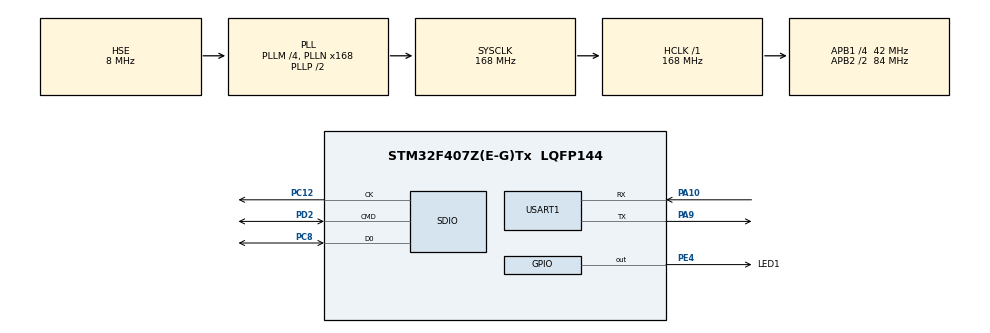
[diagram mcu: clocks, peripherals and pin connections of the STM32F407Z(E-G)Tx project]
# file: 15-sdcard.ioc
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Dma.Request0=SDIO_RX
Dma.Request1=SDIO_TX
Dma.SDIO_RX.0.Direction=DMA_PERIPH_TO_MEMORY
Dma.SDIO_RX.0.FIFOMode=DMA_FIFOMODE_ENABLE
Dma.SDIO_RX.0.FIFOThreshold=DMA_FIFO_THRESHOLD_FULL
Dma.SDIO_RX.0.Instance=DMA2_Stream3
Dma.SDIO_RX.0.MemBurst=DMA_MBURST_INC4
Dma.SDIO_RX.0.MemDataAlignment=DMA_MDATAALIGN_WORD
Dma.SDIO_RX.0.MemInc=DMA_MINC_ENABLE
Dma.SDIO_RX.0.Mode=DMA_PFCTRL
Dma.SDIO_RX.0.PeriphBurst=DMA_PBURST_INC4
Dma.SDIO_RX.0.PeriphDataAlignment=DMA_PDATAALIGN_WORD
Dma.SDIO_RX.0.PeriphInc=DMA_PINC_DISABLE
Dma.SDIO_RX.0.Priority=DMA_PRIORITY_LOW
Dma.SDIO_TX.1.Direction=DMA_MEMORY_TO_PERIPH
Dma.SDIO_TX.1.FIFOMode=DMA_FIFOMODE_ENABLE
Dma.SDIO_TX.1.FIFOThreshold=DMA_FIFO_THRESHOLD_FULL
Dma.SDIO_TX.1.Instance=DMA2_Stream6
Dma.SDIO_TX.1.MemBurst=DMA_MBURST_INC4
Dma.SDIO_TX.1.MemDataAlignment=DMA_MDATAALIGN_WORD
Dma.SDIO_TX.1.MemInc=DMA_MINC_ENABLE
Dma.SDIO_TX.1.Mode=DMA_PFCTRL
Dma.SDIO_TX.1.PeriphBurst=DMA_PBURST_INC4
Dma.SDIO_TX.1.PeriphDataAlignment=DMA_PDATAALIGN_WORD
Dma.SDIO_TX.1.PeriphInc=DMA_PINC_DISABLE
Dma.SDIO_TX.1.Priority=DMA_PRIORITY_LOW
FATFS.USE_DMA_CODE_SD=1
FATFS._FS_NORTC=0
FATFS._USE_LFN=1
Mcu.Family=STM32F4
Mcu.Name=STM32F407Z(E-G)Tx
Mcu.Package=LQFP144
NVIC.DMA2_Stream3_IRQn=true\:0\:0\:false\:false\:true\:false\:true\:true
NVIC.DMA2_Stream6_IRQn=true\:0\:0\:false\:false\:true\:false\:true\:true
NVIC.PriorityGroup=NVIC_PRIORITYGROUP_4
NVIC.SDIO_IRQn=true\:0\:0\:false\:false\:true\:true\:true\:true
NVIC.TIM6_DAC_IRQn=true\:15\:0\:false\:false\:true\:false\:true\:true
NVIC.TimeBase=TIM6_DAC_IRQn
NVIC.TimeBaseIP=TIM6
PA10.Mode=Asynchronous
PA10.Signal=USART1_RX
PA13.Mode=Serial_Wire
PA13.Signal=SYS_JTMS-SWDIO
PA14.Mode=Serial_Wire
PA14.Signal=SYS_JTCK-SWCLK
PA9.Mode=Asynchronous
PA9.Signal=USART1_TX
PC12.Mode=SD_1_bit
PC12.Signal=SDIO_CK
PC14-OSC32_IN.Mode=LSE-External-Oscillator
PC14-OSC32_IN.Signal=RCC_OSC32_IN
PC15-OSC32_OUT.Mode=LSE-External-Oscillator
PC15-OSC32_OUT.Signal=RCC_OSC32_OUT
PC8.Mode=SD_1_bit
PC8.Signal=SDIO_D0
PD2.Mode=SD_1_bit
PD2.Signal=SDIO_CMD
PE4.GPIO_Label=LED1
PE4.Signal=GPIO_Output
PH0-OSC_IN.Mode=HSE-External-Oscillator
PH0-OSC_IN.Signal=RCC_OSC_IN
PH1-OSC_OUT.Mode=HSE-External-Oscillator
PH1-OSC_OUT.Signal=RCC_OSC_OUT
ProjectManager.HeapSize=0x200
ProjectManager.StackSize=0x1000
ProjectManager.TargetToolchain=STM32CubeIDE
RCC.48MHZClocksFreq_Value=48000000
RCC.AHBFreq_Value=168000000
RCC.APB1CLKDivider=RCC_HCLK_DIV4
RCC.APB1Freq_Value=42000000
RCC.APB1TimFreq_Value=84000000
RCC.APB2CLKDivider=RCC_HCLK_DIV2
RCC.APB2Freq_Value=84000000
RCC.APB2TimFreq_Value=168000000
RCC.CortexFreq_Value=168000000
RCC.HCLKFreq_Value=168000000
RCC.HSE_VALUE=8000000
RCC.HSI_VALUE=16000000
RCC.PLLM=4
RCC.PLLN=168
RCC.PLLQ=7
RCC.PLLSourceVirtual=RCC_PLLSOURCE_HSE
RCC.SYSCLKFreq_VALUE=168000000
RCC.SYSCLKSource=RCC_SYSCLKSOURCE_PLLCLK
RCC.VCOOutputFreq_Value=336000000
RTC.Date=25
RTC.Format=RTC_FORMAT_BIN
RTC.Hours=18
RTC.Minutes=10
RTC.Month=RTC_MONTH_APRIL
RTC.WeekDay=RTC_WEEKDAY_TUESDAY
RTC.Year=23
USART1.VirtualMode=VM_ASYNC
VP_FATFS_VS_SDIO.Mode=SDIO
VP_RTC_VS_RTC_Activate.Mode=RTC_Enabled
VP_RTC_VS_RTC_Calendar.Mode=RTC_Calendar
VP_SYS_VS_tim6.Mode=TIM6
board=custom

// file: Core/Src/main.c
/* USER CODE BEGIN Header */
/**
  ******************************************************************************
  * @file           : main.c
  * @brief          : Main program body
  ******************************************************************************
  * @attention
  *
  * Copyright (c) 2023 STMicroelectronics.
  * All rights reserved.
  *
  * This software is licensed under terms that can be found in the LICENSE file
  * in the root directory of this software component.
  * If no LICENSE file comes with this software, it is provided AS-IS.
  *
  ******************************************************************************
  */
/* USER CODE END Header */
#include "main.h"
#include "dma.h"
#include "fatfs.h"
#include "rtc.h"
#include "sdio.h"
#include "usart.h"
#include "gpio.h"

/* USER CODE BEGIN Includes */
#include <stdio.h>
#include "log.h"

/* USER CODE END Includes */

/* USER CODE BEGIN PTD */
#ifdef __GNUC__
#define PUTCHAR_PROTOTYPE int __io_putchar(int ch)
#else
#define PUTCHAR_PROTOTYPE int fputc(int ch, FILE *f)
#endif /* __GNUC__ */

//重定向printf函数
PUTCHAR_PROTOTYPE {
    HAL_UART_Transmit(&huart1, (uint8_t *) &ch, 1, 0xFFFF);//输出指向串口USART1
    return ch;
}

/* USER CODE END PTD */

/* USER CODE BEGIN PV */

FATFS fs;                 // Work area (file system object) for logical drive
FIL fil;                  // file objects
uint32_t byteswritten;                /* File write counts */
uint32_t bytesread;                   /* File read counts */
uint8_t wtext[] = "This is STM32 working with FatFs\n"; /* File write buffer */
uint8_t rtext[200];                     /* File read buffers */
char filename[] = "2.txt";

RTC_DateTypeDef sdatestructure;
RTC_TimeTypeDef stimestructure;

/* USER CODE END PV */

void SystemClock_Config(void);

/* USER CODE BEGIN 0 */

void test_fs(void);

void print_time(void);

/* USER CODE END 0 */

int main(void) {

    /* MCU Configuration--------------------------------------------------------*/

    /* Reset of all peripherals, Initializes the Flash interface and the Systick. */
    HAL_Init();

    /* Configure the system clock */
    SystemClock_Config();

    /* Initialize all configured peripherals */
    MX_GPIO_Init();
    MX_DMA_Init();
    MX_USART1_UART_Init();
    MX_SDIO_SD_Init();
    MX_FATFS_Init();
    MX_RTC_Init();
    /* USER CODE BEGIN 2 */
    HAL_SD_Init(&hsd);
    HAL_SD_ConfigWideBusOperation(&hsd, SDIO_BUS_WIDE_4B);

    retSD = f_mount(&fs, "/", 1);
    log_init();

    /*
    log_set_level(0);
    log_set_quiet(0);

    FILE *fp1, *fp2;
    fp1 = fopen("log_info.txt", "ab");
    if (fp1 == NULL)
        return -1;

    fp2 = fopen("log_debug.txt", "ab");
    if (fp2 == NULL)
        return -1;

    log_add_fp(fp1, LOG_INFO);
    log_add_fp(fp2, LOG_DEBUG);

    log_debug("debug");
    log_info("info");
    log_warn("warn");

    fclose(fp2);
    fclose(fp1);
     */
    /* USER CODE END 2 */

    /* Infinite loop */
    /* USER CODE BEGIN WHILE */
    uint32_t count = 0;

    while (1) {
        HAL_GPIO_TogglePin(LED1_GPIO_Port, LED1_Pin);
        //test_fs();
        //HAL_Delay(1000);
        log_info("count=%d", count);
        count++;
        /* USER CODE END WHILE */

    }
}

void SystemClock_Config(void) {
    RCC_OscInitTypeDef RCC_OscInitStruct = {0};
    RCC_ClkInitTypeDef RCC_ClkInitStruct = {0};

    /** Configure the main internal regulator output voltage
    */
    __HAL_RCC_PWR_CLK_ENABLE();
    __HAL_PWR_VOLTAGESCALING_CONFIG(PWR_REGULATOR_VOLTAGE_SCALE1);

    /** Initializes the RCC Oscillators according to the specified parameters
    * in the RCC_OscInitTypeDef structure.
    */
    RCC_OscInitStruct.OscillatorType = RCC_OSCILLATORTYPE_LSI | RCC_OSCILLATORTYPE_HSE;
    RCC_OscInitStruct.HSEState = RCC_HSE_ON;
    RCC_OscInitStruct.LSIState = RCC_LSI_ON;
    RCC_OscInitStruct.PLL.PLLState = RCC_PLL_ON;
    RCC_OscInitStruct.PLL.PLLSource = RCC_PLLSOURCE_HSE;
    RCC_OscInitStruct.PLL.PLLM = 4;
    RCC_OscInitStruct.PLL.PLLN = 168;
    RCC_OscInitStruct.PLL.PLLP = RCC_PLLP_DIV2;
    RCC_OscInitStruct.PLL.PLLQ = 7;
    if (HAL_RCC_OscConfig(&RCC_OscInitStruct) != HAL_OK) {
        Error_Handler();
    }

    /** Initializes the CPU, AHB and APB buses clocks
    */
    RCC_ClkInitStruct.ClockType = RCC_CLOCKTYPE_HCLK | RCC_CLOCKTYPE_SYSCLK
                                  | RCC_CLOCKTYPE_PCLK1 | RCC_CLOCKTYPE_PCLK2;
    RCC_ClkInitStruct.SYSCLKSource = RCC_SYSCLKSOURCE_PLLCLK;
    RCC_ClkInitStruct.AHBCLKDivider = RCC_SYSCLK_DIV1;
    RCC_ClkInitStruct.APB1CLKDivider = RCC_HCLK_DIV4;
    RCC_ClkInitStruct.APB2CLKDivider = RCC_HCLK_DIV2;

    if (HAL_RCC_ClockConfig(&RCC_ClkInitStruct, FLASH_LATENCY_5) != HAL_OK) {
        Error_Handler();
    }
}

/* USER CODE BEGIN 4 */
//sd卡测试
void test_fs(void) {
    printf("\n ****** FatFs Example ******\n\n");
    print_time();
    /*##-1- Register the file system object to the FatFs module ##############*/
    BYTE work[1024];
    retSD = f_mount(&fs, "/", 1);
    /*----------------------- 格式化测试 ---------------------------*/
    /* 如果没有文件系统就格式化创建创建文件系统 */
    if (retSD == FR_NO_FILESYSTEM) {
        printf("f_mount error： FR_NO_FILESYSTEM\n");
        /* 格式化 */
        retSD = f_mkfs("/", 0, 0, work, sizeof(work));
        if (retSD == FR_OK) {
            printf("f_mkfs success\n");
            /* 格式化后，先取消挂载 */
            retSD = f_mount(NULL, "/", 1);
            /* 重新挂载 */
            retSD = f_mount(&fs, "/", 1);
            printf("f_mount success：%d\n", retSD);
        } else {
            printf("f_mkfs error: %d\n", retSD);
            //while (1);
        }
    } else if (retSD != FR_OK) {
        printf("f_mount error: %d\n", retSD);
        //while (1);
    } else {
        printf("f_mount success\n");
    }
    printf("\n");
    /*##-2- Create and Open new text file objects with write access ######*/
    retSD = f_open(&fil, filename, FA_OPEN_APPEND | FA_WRITE | FA_READ);
    if (retSD) {
        printf("w1 open file error : %d\n", retSD);
    } else {
        printf("w1 open file success\n");
    }

    /*##-3- Write data to the text files ###############################*/
    retSD = f_write(&fil, wtext, sizeof(wtext), (void *) &byteswritten);
    if (retSD) {
        printf("w2 write file error: %d\n", retSD);
    } else {
        printf("w2 write file success,data:%s\n", wtext);
    }

    /*##-4- Close the open text files ################################*/
    retSD = f_close(&fil);
    if (retSD) {
        printf("w3 close error: %d\n", retSD);
    } else {
        printf("w3 close success\n");
    }

    printf("\n");

    /*##-5- Open the text files object with read access ##############*/
    retSD = f_open(&fil, filename, FA_READ);
    if (retSD) {
        printf("r1 open file error: %d\n", retSD);
    } else {
        printf("r1 open file success\n");
    }

    /*##-6- Read data from the text files ##########################*/
    retSD = f_read(&fil, rtext, sizeof(rtext), (UINT *) &bytesread);
    if (retSD) {
        printf("r2 read error:%d\r\n", retSD);
    } else {
        printf("r2 read success,data:%s %c\n", rtext, rtext[33]);
    }

    /*##-7- Close the open text files ############################*/
    retSD = f_close(&fil);
    if (retSD) {
        printf("r3 close error:%d\n", retSD);
    } else {
        printf("r3 close success\n");
    }

    printf("\n");
    /*##-8- Compare read data with the expected data ############*/
    if (bytesread == byteswritten) {
        printf("FatFs is working well:%lu \n", bytesread);
    } else {
        printf("FatFs is working exp w:%lu r:%lu \n", byteswritten, bytesread);
    }

    /*
     * 9 unmount sdcard
     */
    retSD = f_mount(NULL, "/", 1);
    if (retSD) {
        printf("unmount error:%d\n", retSD);
    } else {
        printf("unmount success\n");
    }
    printf("\n");

}

void print_time() {
    //获取时间
    HAL_RTC_GetTime(&hrtc, &stimestructure, RTC_FORMAT_BIN);
    HAL_RTC_GetDate(&hrtc, &sdatestructure, RTC_FORMAT_BIN);
    /* Display date Format : yy/mm/dd */
    printf("%02d/%02d/%02d ", 2000 + sdatestructure.Year, sdatestructure.Month, sdatestructure.Date);
    /* Display time Format : hh:mm:ss */
    printf("%02d:%02d:%02d\n", stimestructure.Hours, stimestructure.Minutes, stimestructure.Seconds);
}

/* USER CODE END 4 */

void HAL_TIM_PeriodElapsedCallback(TIM_HandleTypeDef *htim) {
    if (htim->Instance == TIM6) {
        HAL_IncTick();
    }
}

void Error_Handler(void) {
    __disable_irq();
    while (1) {
    }
}
